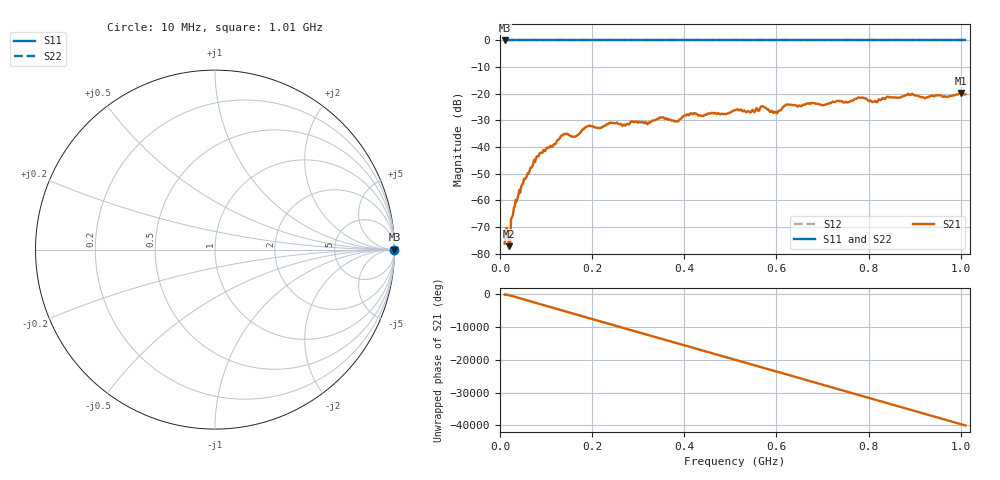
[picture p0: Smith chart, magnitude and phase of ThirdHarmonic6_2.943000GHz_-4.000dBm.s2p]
! 8/17/2025 8:15:08 AM
! C:\ANRITSUVNA\TEMP\TEMP.S2P
! CHANNEL.1
! TR.MEASUREMENT
! RAW.DATA
! RF.CORRECTION.OFF
! AVERAGING.OFF
! IF.BANDWIDTH: 5KHZ
! SWEEPTYPE:  FREQ.SWEEP(Linear)
! Reference Plane Port Info
! PORT:  PORT1  PORT2
! DISTANCE:  0  m  0  m
! TIME:  0  s  0  s
! PHASE.OFFSET:  0  deg.  0  deg.
! LOSS:  0  dB  0  dB
! REF.LOSS:  0  dB  0  dB
! REF.FREQ:  0  Hz  0  Hz
! Power Info
! POWER:  -20  dBm  -20  dBm
! EFF.POWER:  -20  dBm  -20  dBm
! SOURCE.ATTEN:  0  dB  0  dB
! TEST.ATTEN:  0  dB  0  dB
# GHZ S RI R 50.0
! FREQ.GHZ  S11RE  S11IM  S21RE  S21IM  S12RE  S12IM  S22RE  S22IM
!; PortSelection: Port_12
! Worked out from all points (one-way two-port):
!   501 points, 10 MHz to 1.01 GHz, reference 50 ohm
!   highest |S21| = -19.75 dB at 1 GHz (marker M1); lowest = -77.2 dB at 20 MHz (marker M2)
!   lowest |S11| = 0.0 dB at 10 MHz (marker M3)
!   |S11| at or under -10 dB: nowhere
!   |S22| runs from 0.0 to 0.0 dB; largest |S21 - S12| = 1.1
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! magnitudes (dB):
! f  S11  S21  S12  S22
! 10 MHz  0.0  -76.3  0.0  0.0
! 20 MHz  0.0  -77.2  0.0  0.0
! 28 MHz  0.0  -65.4  0.0  0.0
! 38 MHz  0.0  -59.3  0.0  0.0
! 78 MHz  0.0  -44.3  0.0  0.0
! 136 MHz  0.0  -35.6  0.0  0.0
! 162 MHz  0.0  -36.2  0.0  0.0
! 178 MHz  0.0  -33.7  0.0  0.0
! 192 MHz  0.0  -32.1  0.0  0.0
! 322 MHz  0.0  -31.0  0.0  0.0
! 344 MHz  0.0  -29.4  0.0  0.0
! 384 MHz  0.0  -30.3  0.0  0.0
! 416 MHz  0.0  -27.5  0.0  0.0
! 510 MHz  0.0  -26.2  0.0  0.0
! 570 MHz  0.0  -24.7  0.0  0.0
! 598 MHz  0.0  -26.8  0.0  0.0
! 624 MHz  0.0  -24.0  0.0  0.0
! 678 MHz  0.0  -23.5  0.0  0.0
! 814 MHz  0.0  -22.6  0.0  0.0
! 844 MHz  0.0  -21.3  0.0  0.0
! 1 GHz  0.0  -19.8  0.0  0.0
! 1.01 GHz  0.0  -20.2  0.0  0.0
